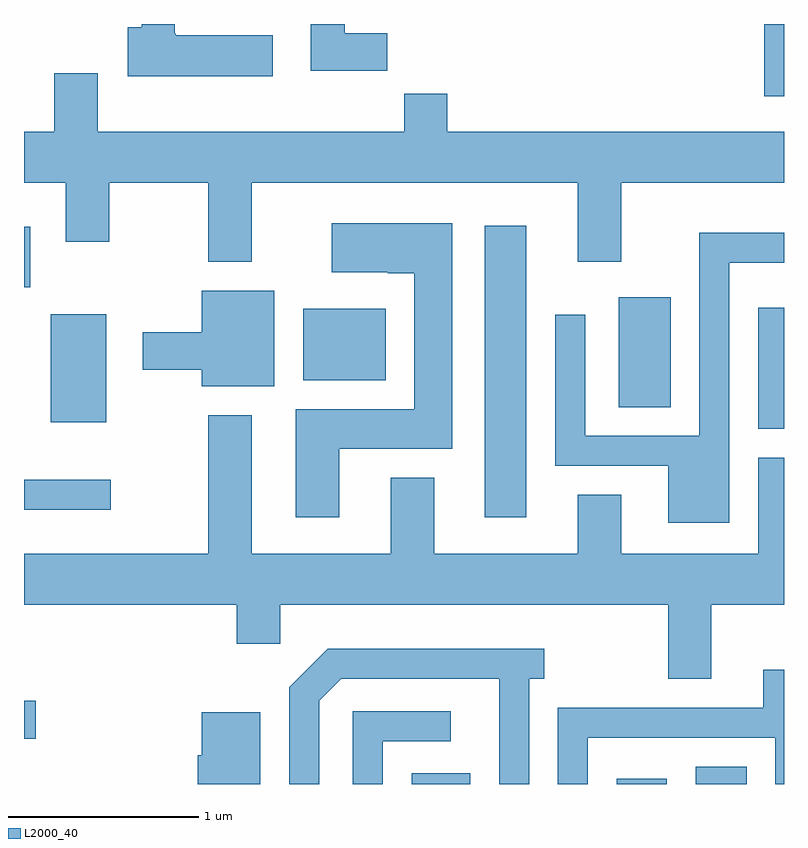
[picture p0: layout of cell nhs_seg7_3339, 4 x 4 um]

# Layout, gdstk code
import gdstk
lib = gdstk.Library(unit=1e-6, precision=1e-09)
def R(c, l, rs):  # rectangles x0, y0, x1, y1
    for r in rs: c.add(gdstk.rectangle(r[:2], r[2:], *l))
def P(c, l, *ps):  # polygons
    for p in ps: c.add(gdstk.Polygon(p, *l))
L2000_40 = (2000, 40)

nhs_seg7_3339 = lib.new_cell('nhs_seg7_3339')
R(nhs_seg7_3339, L2000_40, [(289.651,1722.252,289.959,1722.309), (290.731,1722.252,290.994,1722.279), (291.146,1722.252,291.414,1722.344), (287.611,1722.491,287.674,1722.689), (290.036,1723.656,290.254,1725.189), (287.611,1723.696,288.068,1723.854), (291.476,1724.121,291.611,1724.759), (287.751,1724.156,288.044,1724.724), (290.741,1724.236,291.014,1724.814), (289.081,1724.376,289.514,1724.754), (287.611,1724.866,287.644,1725.184), (291.506,1725.871,291.611,1726.252)])
P(nhs_seg7_3339, L2000_40, [(289.524,1726.204),(289.299,1726.204),(289.299,1726.252),(289.121,1726.252),(289.121,1726.006),(289.524,1726.006)],
  [(288.919,1726.194),(288.41,1726.194),(288.41,1726.2),(288.404,1726.2),(288.404,1726.252),(288.231,1726.252),(288.231,1726.234),(288.156,1726.234),(288.156,1725.976),(288.919,1725.976)],
  [(288.809,1725.416),(290.526,1725.416),(290.526,1725.001),(290.754,1725.001),(290.754,1725.416),(291.611,1725.416),(291.611,1725.684),(289.839,1725.684),(289.839,1725.884),(289.611,1725.884),(289.611,1725.684),(287.999,1725.684),(287.999,1725.994),(287.771,1725.994),(287.771,1725.684),(287.611,1725.684),(287.611,1725.416),(287.831,1725.416),(287.831,1725.106),(288.059,1725.106),(288.059,1725.416),(288.581,1725.416),(288.581,1725.001),(288.809,1725.001)],
  [(289.269,1724.016),(289.864,1724.016),(289.864,1725.204),(289.231,1725.204),(289.231,1724.946),(289.525,1724.946),(289.525,1724.941),(289.666,1724.941),(289.666,1724.224),(289.041,1724.224),(289.041,1723.656),(289.269,1723.656)],
  [(291.324,1724.996),(291.611,1724.996),(291.611,1725.154),(291.166,1725.154),(291.166,1724.084),(290.564,1724.084),(290.564,1724.723),(290.406,1724.723),(290.406,1723.926),(291.001,1723.926),(291.001,1723.626),(291.324,1723.626)],
  [(288.929,1724.849),(288.546,1724.849),(288.546,1724.629),(288.236,1724.629),(288.236,1724.431),(288.546,1724.431),(288.546,1724.346),(288.929,1724.346)],
  [(291.229,1723.196),(291.611,1723.196),(291.611,1723.969),(291.476,1723.969),(291.476,1723.464),(290.754,1723.464),(290.754,1723.774),(290.526,1723.774),(290.526,1723.464),(289.769,1723.464),(289.769,1723.864),(289.541,1723.864),(289.541,1723.464),(288.809,1723.464),(288.809,1724.194),(288.581,1724.194),(288.581,1723.464),(287.611,1723.464),(287.611,1723.196),(288.731,1723.196),(288.731,1722.991),(288.959,1722.991),(288.959,1723.196),(291.001,1723.196),(291.001,1722.806),(291.229,1722.806)],
  [(289.164,1722.689),(289.282,1722.806),(290.111,1722.806),(290.111,1722.252),(290.269,1722.252),(290.269,1722.806),(290.348,1722.806),(290.348,1722.964),(289.209,1722.964),(289.006,1722.762),(289.006,1722.252),(289.164,1722.252)],
  [(290.579,1722.496),(291.566,1722.496),(291.566,1722.252),(291.611,1722.252),(291.611,1722.854),(291.501,1722.854),(291.501,1722.654),(290.421,1722.654),(290.421,1722.252),(290.579,1722.252)],
  [(289.499,1722.476),(289.858,1722.476),(289.858,1722.634),(289.341,1722.634),(289.341,1722.252),(289.499,1722.252)],
  [(288.854,1722.629),(288.546,1722.629),(288.546,1722.404),(288.526,1722.404),(288.526,1722.252),(288.854,1722.252)])

lib.write_gds('nhs_seg7_3339.gds')
